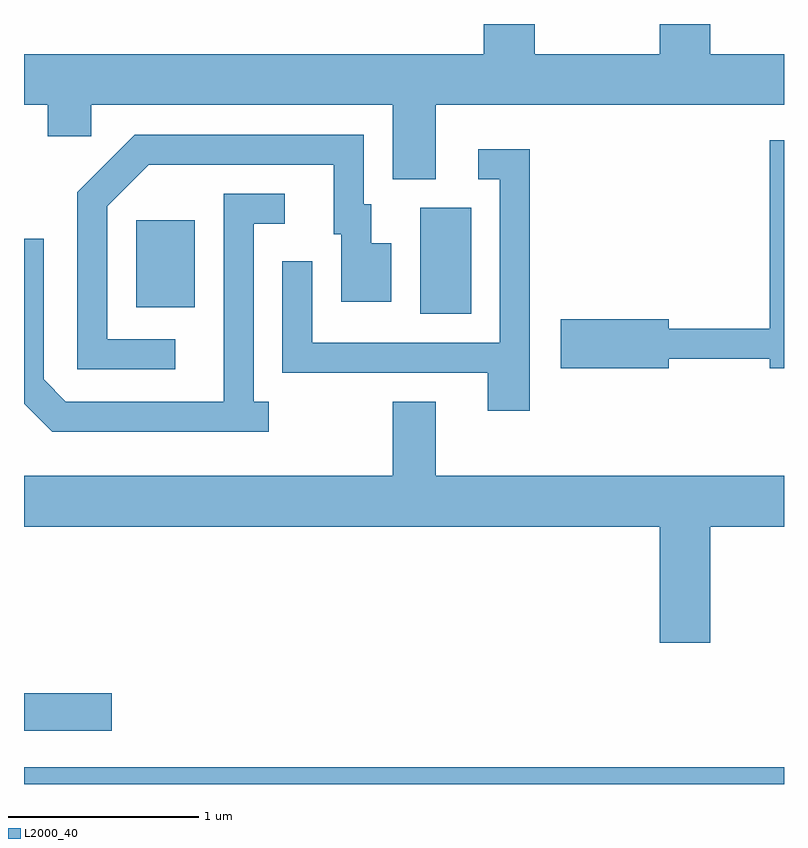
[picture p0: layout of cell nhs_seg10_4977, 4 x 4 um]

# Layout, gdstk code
import gdstk
lib = gdstk.Library(unit=1e-6, precision=1e-09)
def R(c, l, rs):  # rectangles x0, y0, x1, y1
    for r in rs: c.add(gdstk.rectangle(r[:2], r[2:], *l))
def P(c, l, *ps):  # polygons
    for p in ps: c.add(gdstk.Polygon(p, *l))
L2000_40 = (2000, 40)

nhs_seg10_4977 = lib.new_cell('nhs_seg10_4977')
R(nhs_seg10_4977, L2000_40, [(331.611,2152.522,335.611,2152.609), (331.611,2152.801,332.074,2152.999), (333.696,2154.996,333.964,2155.554), (332.201,2155.031,332.509,2155.489)])
P(nhs_seg10_4977, L2000_40, [(333.779,2156.096),(335.611,2156.096),(335.611,2156.364),(335.224,2156.364),(335.224,2156.522),(334.956,2156.522),(334.956,2156.364),(334.299,2156.364),(334.299,2156.522),(334.031,2156.522),(334.031,2156.364),(331.611,2156.364),(331.611,2156.096),(331.736,2156.096),(331.736,2155.931),(331.964,2155.931),(331.964,2156.096),(333.551,2156.096),(333.551,2155.706),(333.779,2155.706)],
  [(332.408,2154.864),(332.049,2154.864),(332.049,2155.564),(332.267,2155.781),(333.241,2155.781),(333.241,2155.416),(333.281,2155.416),(333.281,2155.061),(333.544,2155.061),(333.544,2155.369),(333.439,2155.369),(333.439,2155.574),(333.399,2155.574),(333.399,2155.939),(332.194,2155.939),(331.891,2155.637),(331.891,2154.706),(332.408,2154.706)],
  [(335.004,2154.761),(335.536,2154.761),(335.536,2154.711),(335.611,2154.711),(335.611,2155.909),(335.536,2155.909),(335.536,2154.919),(335.004,2154.919),(335.004,2154.969),(334.436,2154.969),(334.436,2154.711),(335.004,2154.711)],
  [(334.274,2155.864),(334.003,2155.864),(334.003,2155.706),(334.116,2155.706),(334.116,2154.844),(333.129,2154.844),(333.129,2155.273),(332.971,2155.273),(332.971,2154.686),(334.051,2154.686),(334.051,2154.486),(334.274,2154.486)],
  [(332.898,2154.534),(332.819,2154.534),(332.819,2155.471),(332.983,2155.471),(332.983,2155.629),(332.661,2155.629),(332.661,2154.534),(331.832,2154.534),(331.714,2154.652),(331.714,2155.393),(331.611,2155.393),(331.611,2154.524),(331.759,2154.376),(332.898,2154.376)],
  [(335.224,2153.876),(335.611,2153.876),(335.611,2154.144),(333.779,2154.144),(333.779,2154.534),(333.551,2154.534),(333.551,2154.144),(331.611,2154.144),(331.611,2153.876),(334.956,2153.876),(334.956,2153.266),(335.224,2153.266)])

lib.write_gds('nhs_seg10_4977.gds')
